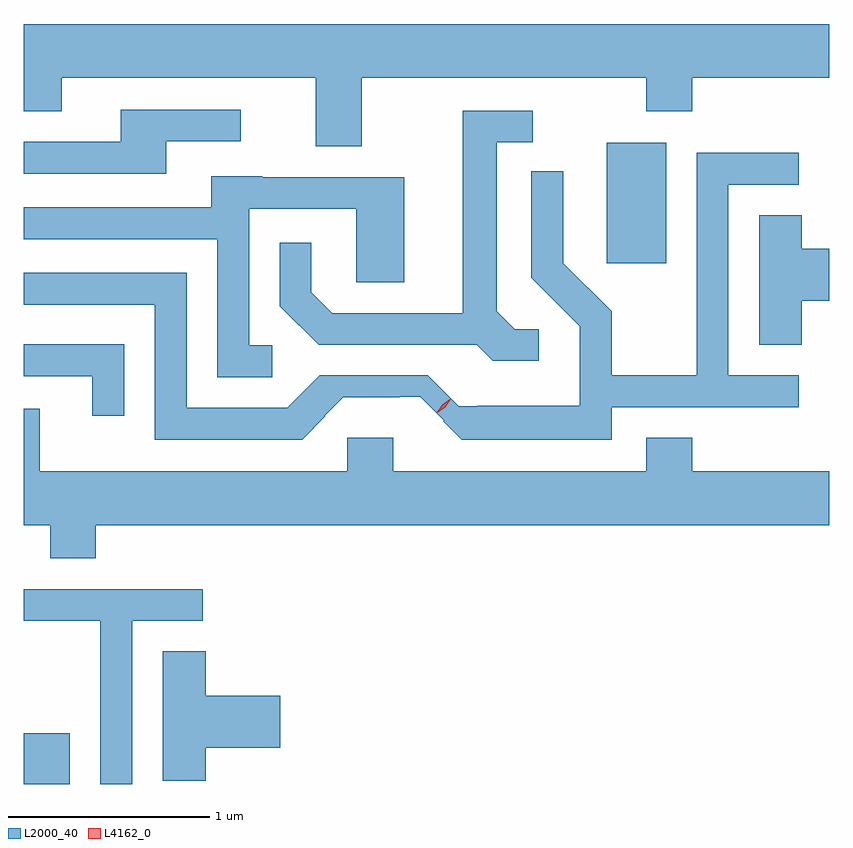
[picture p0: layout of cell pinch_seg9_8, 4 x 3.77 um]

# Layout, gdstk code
import gdstk
lib = gdstk.Library(unit=1e-6, precision=1e-09)
def R(c, l, rs):  # rectangles x0, y0, x1, y1
    for r in rs: c.add(gdstk.rectangle(r[:2], r[2:], *l))
def P(c, l, *ps):  # polygons
    for p in ps: c.add(gdstk.Polygon(p, *l))
L2000_40 = (2000, 40)
L4162_0 = (4162, 0)

pinch_seg9_8 = lib.new_cell('pinch_seg9_8')
R(pinch_seg9_8, L2000_40, [(1908.82,1992.751,1909.049,1993.004), (1911.716,1995.336,1912.009,1995.934)])
P(pinch_seg9_8, L2000_40, [(1910.499,1996.256),(1911.911,1996.256),(1911.911,1996.091),(1912.139,1996.091),(1912.139,1996.256),(1912.82,1996.256),(1912.82,1996.524),(1908.82,1996.524),(1908.82,1996.091),(1909.009,1996.091),(1909.009,1996.256),(1910.271,1996.256),(1910.271,1995.916),(1910.499,1995.916)],
  [(1909.529,1995.941),(1909.898,1995.941),(1909.898,1996.099),(1909.301,1996.099),(1909.301,1995.939),(1908.82,1995.939),(1908.82,1995.781),(1909.529,1995.781)],
  [(1911.378,1995.009),(1911.257,1995.009),(1911.169,1995.097),(1911.169,1995.936),(1911.348,1995.936),(1911.348,1996.094),(1911.001,1996.094),(1911.001,1995.089),(1910.352,1995.089),(1910.249,1995.192),(1910.249,1995.438),(1910.091,1995.438),(1910.091,1995.124),(1910.284,1994.931),(1911.069,1994.931),(1911.149,1994.851),(1911.378,1994.851)],
  [(1910.318,1994.577),(1910.315,1994.58),(1910.406,1994.671),(1910.686,1994.671),(1910.686,1994.673),(1910.789,1994.673),(1910.906,1994.556),(1910.903,1994.553),(1910.995,1994.461),(1911.739,1994.461),(1911.739,1994.621),(1912.668,1994.621),(1912.668,1994.779),(1912.319,1994.779),(1912.319,1995.726),(1912.668,1995.726),(1912.668,1995.884),(1912.161,1995.884),(1912.161,1994.779),(1911.739,1994.779),(1911.739,1995.097),(1911.499,1995.337),(1911.499,1995.793),(1911.341,1995.793),(1911.341,1995.264),(1911.581,1995.024),(1911.581,1994.629),(1911.075,1994.629),(1911.075,1994.626),(1910.98,1994.626),(1910.827,1994.779),(1910.289,1994.779),(1910.129,1994.619),(1909.629,1994.619),(1909.629,1995.289),(1908.82,1995.289),(1908.82,1995.131),(1909.471,1995.131),(1909.471,1994.461),(1910.202,1994.461)],
  [(1910.053,1994.929),(1909.939,1994.929),(1909.939,1995.606),(1910.471,1995.606),(1910.471,1995.241),(1910.709,1995.241),(1910.709,1995.764),(1910.005,1995.764),(1910.005,1995.769),(1909.751,1995.769),(1909.751,1995.614),(1908.82,1995.614),(1908.82,1995.456),(1909.781,1995.456),(1909.781,1994.771),(1910.053,1994.771)],
  [(1912.684,1995.151),(1912.82,1995.151),(1912.82,1995.409),(1912.684,1995.409),(1912.684,1995.574),(1912.471,1995.574),(1912.471,1994.931),(1912.684,1994.931)],
  [(1909.319,1994.934),(1908.82,1994.934),(1908.82,1994.776),(1909.161,1994.776),(1909.161,1994.578),(1909.319,1994.578)],
  [(1909.179,1994.036),(1912.82,1994.036),(1912.82,1994.304),(1912.139,1994.304),(1912.139,1994.469),(1911.911,1994.469),(1911.911,1994.304),(1910.654,1994.304),(1910.654,1994.469),(1910.426,1994.469),(1910.426,1994.304),(1908.899,1994.304),(1908.899,1994.614),(1908.82,1994.614),(1908.82,1994.036),(1908.951,1994.036),(1908.951,1993.871),(1909.179,1993.871)],
  [(1909.359,1993.561),(1909.708,1993.561),(1909.708,1993.719),(1908.82,1993.719),(1908.82,1993.561),(1909.201,1993.561),(1909.201,1992.751),(1909.359,1992.751)],
  [(1909.724,1992.931),(1910.094,1992.931),(1910.094,1993.189),(1909.724,1993.189),(1909.724,1993.409),(1909.511,1993.409),(1909.511,1992.766),(1909.724,1992.766)])
P(pinch_seg9_8, L4162_0, [(1910.87,1994.592),(1910.87,1994.593),(1910.898,1994.635),(1910.94,1994.664),(1910.941,1994.664),(1910.941,1994.663),(1910.913,1994.621),(1910.871,1994.592)],
  [(1910.874,1994.596),(1910.874,1994.597),(1910.898,1994.635),(1910.936,1994.66),(1910.937,1994.66),(1910.937,1994.659),(1910.913,1994.621),(1910.875,1994.596)])

lib.write_gds('pinch_seg9_8.gds')
